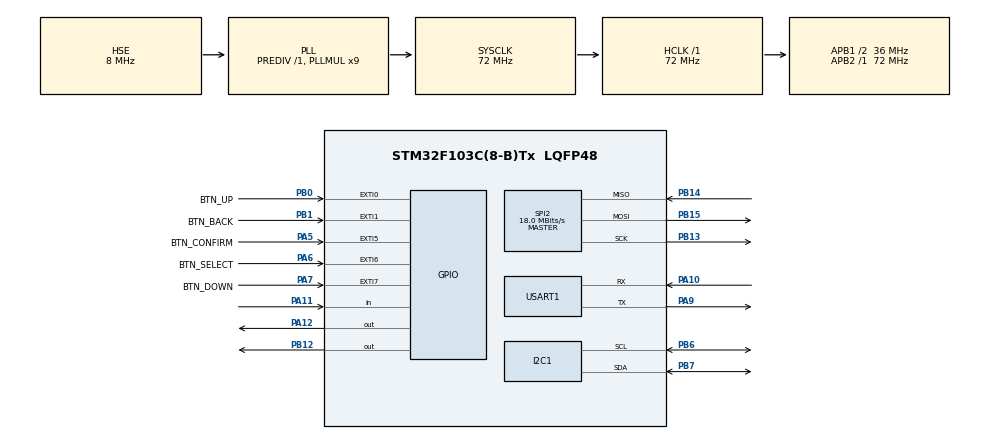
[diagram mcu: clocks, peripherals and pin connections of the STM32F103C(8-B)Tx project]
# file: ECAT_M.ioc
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Dma.Request0=USART1_TX
Dma.USART1_TX.0.Direction=DMA_MEMORY_TO_PERIPH
Dma.USART1_TX.0.Instance=DMA1_Channel4
Dma.USART1_TX.0.MemDataAlignment=DMA_MDATAALIGN_BYTE
Dma.USART1_TX.0.MemInc=DMA_MINC_ENABLE
Dma.USART1_TX.0.Mode=DMA_NORMAL
Dma.USART1_TX.0.PeriphDataAlignment=DMA_PDATAALIGN_BYTE
Dma.USART1_TX.0.PeriphInc=DMA_PINC_DISABLE
Dma.USART1_TX.0.Priority=DMA_PRIORITY_LOW
I2C1.I2C_Mode=I2C_Standard
Mcu.Family=STM32F1
Mcu.Name=STM32F103C(8-B)Tx
Mcu.Package=LQFP48
NVIC.DMA1_Channel4_IRQn=true\:0\:0\:false\:false\:true\:false\:true\:true
NVIC.EXTI0_IRQn=true\:0\:0\:false\:false\:true\:true\:true\:true
NVIC.EXTI1_IRQn=true\:0\:0\:false\:false\:true\:true\:true\:true
NVIC.EXTI9_5_IRQn=true\:0\:0\:false\:false\:true\:true\:true\:true
NVIC.PriorityGroup=NVIC_PRIORITYGROUP_4
NVIC.USART1_IRQn=true\:0\:0\:false\:false\:true\:true\:true\:true
PA10.Mode=Asynchronous
PA10.Signal=USART1_RX
PA11.GPIO_PuPd=GPIO_PULLUP
PA11.Signal=GPIO_Input
PA12.PinState=GPIO_PIN_SET
PA12.Signal=GPIO_Output
PA13.Mode=Serial_Wire
PA13.Signal=SYS_JTMS-SWDIO
PA14.Mode=Serial_Wire
PA14.Signal=SYS_JTCK-SWCLK
PA5.GPIO_Label=BTN_CONFIRM
PA5.GPIO_ModeDefaultEXTI=GPIO_MODE_IT_FALLING
PA5.Signal=GPXTI5
PA6.GPIO_Label=BTN_SELECT
PA6.GPIO_ModeDefaultEXTI=GPIO_MODE_IT_FALLING
PA6.Signal=GPXTI6
PA7.GPIO_Label=BTN_DOWN
PA7.GPIO_ModeDefaultEXTI=GPIO_MODE_IT_FALLING
PA7.Signal=GPXTI7
PA9.Mode=Asynchronous
PA9.Signal=USART1_TX
PB0.GPIO_Label=BTN_UP
PB0.GPIO_ModeDefaultEXTI=GPIO_MODE_IT_FALLING
PB0.Signal=GPXTI0
PB1.GPIO_Label=BTN_BACK
PB1.GPIO_ModeDefaultEXTI=GPIO_MODE_IT_FALLING
PB1.Signal=GPXTI1
PB12.Signal=GPIO_Output
PB13.Mode=Full_Duplex_Master
PB13.Signal=SPI2_SCK
PB14.Mode=Full_Duplex_Master
PB14.Signal=SPI2_MISO
PB15.Mode=Full_Duplex_Master
PB15.Signal=SPI2_MOSI
PB6.Mode=I2C
PB6.Signal=I2C1_SCL
PB7.Mode=I2C
PB7.Signal=I2C1_SDA
PD0-OSC_IN.Mode=HSE-External-Oscillator
PD0-OSC_IN.Signal=RCC_OSC_IN
PD1-OSC_OUT.Mode=HSE-External-Oscillator
PD1-OSC_OUT.Signal=RCC_OSC_OUT
ProjectManager.HeapSize=0x200
ProjectManager.StackSize=0x400
ProjectManager.TargetToolchain=CMake
RCC.AHBFreq_Value=72000000
RCC.APB1CLKDivider=RCC_HCLK_DIV2
RCC.APB1Freq_Value=36000000
RCC.APB1TimFreq_Value=72000000
RCC.APB2Freq_Value=72000000
RCC.APB2TimFreq_Value=72000000
RCC.HCLKFreq_Value=72000000
RCC.PLLMUL=RCC_PLL_MUL9
RCC.PLLSourceVirtual=RCC_PLLSOURCE_HSE
RCC.SYSCLKFreq_VALUE=72000000
RCC.SYSCLKSource=RCC_SYSCLKSOURCE_PLLCLK
RCC.USBFreq_Value=72000000
SPI2.BaudRatePrescaler=SPI_BAUDRATEPRESCALER_2
SPI2.CalculateBaudRate=18.0 MBits/s
SPI2.Direction=SPI_DIRECTION_2LINES
SPI2.Mode=SPI_MODE_MASTER
SPI2.VirtualType=VM_MASTER
USART1.VirtualMode=VM_ASYNC
board=custom

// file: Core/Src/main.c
/* USER CODE BEGIN Header */
/**
  ******************************************************************************
  * @file           : main.c
  * @brief          : Main program body
  ******************************************************************************
  * @attention
  *
  * Copyright (c) 2026 STMicroelectronics.
  * All rights reserved.
  *
  * This software is licensed under terms that can be found in the LICENSE file
  * in the root directory of this software component.
  * If no LICENSE file comes with this software, it is provided AS-IS.
  *
  ******************************************************************************
  */
/* USER CODE END Header */
#include "main.h"
#include "dma.h"
#include "i2c.h"
#include "spi.h"
#include "usart.h"
#include "gpio.h"

/* USER CODE BEGIN Includes */
#include "w5500.h"
#include "ecat_master.h"
#include "mprint.h"
#include <stdint.h>
#include <stdio.h>
#include <string.h>
#include "oled.h"
#include "font.h"
#include "math.h"
#include "ecat_params.h"
/* USER CODE END Includes */

/* USER CODE BEGIN PD */
#define RESET_ABS_ENC_INDEX 0x2710
#define RESET_ABS_ENC_W 0x01
#define RESET_ABS_ENC_R 0x03

#define MENU_ITEM_HEIGHT 18
#define MENU_TOTAL_HEIGHT 64
#define MAIN_MENU_SIZE 5
#define IMPORT_MENU_SIZE 3

typedef struct MainMenu {
  char items[MAIN_MENU_SIZE][32];
  uint8_t selectIndex;
} MainMenu;
typedef struct ImportMenu {
  char items[IMPORT_MENU_SIZE][32];
  uint8_t selectIndex;
} ImportMenu;

/* USER CODE END PD */

/* USER CODE BEGIN PV */
static int slaveCount = 0;        /* 从站数量 */
static char displayBuf[32];       /* 显示缓冲区 */
static char paramDisplayBuf[32]; /* 参数显示缓冲区 */
static uint8_t ecatInitialized = 0;  /* 初始化标志 */

volatile uint8_t btn_state = 0b000000;
PageStatus currentPage = PAGE_MAIN;
uint8_t dialogSelectIndex = 0;
ECAT_Slave_t *slave;

static MainMenu mainMenu = {
  .items = {
    "重新连接",
    "参数查看/修改",
    "参数批量写入",
    "编码器复位",
    "参数初始化"
  },
  .selectIndex = 0
};

static ImportMenu importMenu = {
  .items = {
    "CNCMC800-X",
    "CNCMC800-Y",
    "JH800-Y"
  },
  .selectIndex = 0
};

static Parameter currentParam = {
  .paramIndex = 0x2000,
  .selectParamBit = 0,
  .rawData = 0,
  .data_min = 0,
  .data_max = 0xFFFFFFFE,
  .dataSize = 2,
  .displayFormat = DISPLAY_FORMAT_BYTE_ARRAY,
  .selectDisplayBit = 0
};
/* USER CODE END PV */

void SystemClock_Config(void);
/* USER CODE BEGIN PFP */
static void ECAT_DisplayStatus(const char *status, int progress);
static int ECAT_InitAndScan(void);

static int showRSTENCStatus(void);
static int ECAT_2710_StopStep(ECAT_Slave_t *slave, uint8_t* data16);
static void showDialog(uint8_t dialogType, const char *text0, const char *text1);
static void btnLock(void);
static void btnUnlock(void);
static const ParameterRule *FindParameterRule(uint16_t paramIndex);

void refreshScreen(void);
/* USER CODE END PFP */

/* USER CODE BEGIN 0 */
static void ECAT_DisplayStatus(const char *status, int progress)
{
    OLED_NewFrame();
    OLED_PrintCenterString(0, 128, 0, (char *)status, &font16x16, OLED_COLOR_NORMAL);
    if (progress >= 0)
    {
        /* 绘制进度条背景 */
        OLED_DrawRectangle(4, 35, 120, 12, OLED_COLOR_NORMAL);
        /* 绘制进度条 */
        OLED_DrawFilledRectangle(4, 35, (progress / 100.0) * 120, 12, OLED_COLOR_NORMAL);
    }
    OLED_ShowFrame();
}

/**
* @brief 显示对话框
* @param dialogType 对话框类型，0：确认/取消，1：仅确认
* @param text0 第一行文本
* @param text1 第二行文本
*/
static void showDialog(uint8_t dialogType, const char *text0, const char *text1) {
  OLED_NewFrame();
  OLED_PrintCenterString(0, 128, 2, (char *)text0, &font16x16, OLED_COLOR_NORMAL);
  OLED_PrintCenterString(0, 128, 18, (char *)text1, &font16x16, OLED_COLOR_NORMAL);

  switch (dialogType) {
  case 0:
    OLED_PrintCenterString(0, 64, 44, "取消", &font16x16, (dialogSelectIndex == 0) ? OLED_COLOR_REVERSED : OLED_COLOR_NORMAL);
    OLED_PrintCenterString(64, 64, 44, "确认", &font16x16, (dialogSelectIndex == 1) ? OLED_COLOR_REVERSED : OLED_COLOR_NORMAL);
    break;
  case 1:
    OLED_PrintCenterString(0, 128, 44, "确认", &font16x16, OLED_COLOR_REVERSED);
    break;
  }

  OLED_ShowFrame();
}

static int ECAT_InitAndScan(void)
{
  btnLock();

  int ret;
  int w5500_retry = 0;
  static char initmsg[] = "启动网络中...";

  /* 显示初始化状态 */
  ECAT_DisplayStatus(initmsg, 10);

  /* 检查W5500 */
  if (W5500_GetVersion() != 0x04)
  {
    w5500_retry++;
    if (w5500_retry > 3) {
      ECAT_DisplayStatus("网络启动失败", -1);
      HAL_Delay(2000);
    }
    return ECAT_ERROR;
  }

  ECAT_DisplayStatus(initmsg, 30);

  /* 初始化EtherCAT主站 */
  ret = ECAT_Init();
  if (ret != ECAT_OK)
  {
    ECAT_DisplayStatus("ECAT启动失败", -1);
    HAL_Delay(2000);
    return ret;
  }

  ECAT_DisplayStatus(initmsg, 50);

  /* 检查链接状态 */
  if (!W5500_GetLinkStatus())
  {
    ECAT_DisplayStatus("连接异常", -1);
    HAL_Delay(2000);
    return ECAT_ERROR;
  }

  /* 扫描从站 */
  ECAT_DisplayStatus(initmsg, 80);
  slaveCount = ECAT_ScanSlaves();
  if (slaveCount == 0)
  {
    ECAT_DisplayStatus("未连接到从站", -1);
    HAL_Delay(2000);
    return ECAT_NO_SLAVE;
  }

  ECAT_DisplayStatus(initmsg, 90);
  slave = ECAT_GetSlave(0);
  if (slave == NULL)
  {
    ECAT_DisplayStatus("从站连接异常", -1);
    HAL_Delay(2000);
    return ECAT_NO_SLAVE;
  }

  ecatInitialized = 1;

  currentPage = PAGE_MAIN;
  refreshScreen();
  btnUnlock();
  return ECAT_OK;
}

static void btnLock(void) {
  btn_state |= 0b000001;
}

static void btnUnlock(void) {
  btn_state &= 0b111110;
}

static const ParameterRule *FindParameterRule(uint16_t paramIndex) {
  uint16_t low = 0;
  uint16_t high = (parameterRules_size == 0) ? 0 : (uint16_t)(parameterRules_size - 1);

  while (low <= high && parameterRules_size > 0) {
    uint16_t mid = (uint16_t)(low + ((high - low) / 2));
    uint16_t midIndex = parameterRules[mid].paramIndex;

    if (midIndex == paramIndex) {
      return &parameterRules[mid];
    }
    if (midIndex < paramIndex) {
      low = (uint16_t)(mid + 1);
    } else {
      if (mid == 0) {
        break;
      }
      high = (uint16_t)(mid - 1);
    }
  }

  return NULL;
}

int showRSTENCStatus(void) {
  btnLock();

  int ret;
  int dataSize = 16;
  uint8_t data16[16] = {0,0,1,2,0,0x20,0,0,0x08,0x10,0,0,0,0,0x00,0x00};
  int readRetry = 10;

  ECAT_DisplayStatus("编码器复位中...", 10);

  // 0 请求复位
  ret = ECAT_SDOWrite(slave->configAddr, RESET_ABS_ENC_INDEX, RESET_ABS_ENC_W, data16, 10, 2000);
  if (ret != ECAT_OK)
  {
      sprintf(displayBuf, "ABSRST 0 Err:%d", ret);
      ECAT_DisplayStatus(displayBuf, -1);
      return ret;
  }

  ECAT_DisplayStatus("编码器复位中...", 20);

  // 1 读取请求是否成功
  for (int i = 0; i <= readRetry; i++) {
    HAL_Delay(500);

    dataSize = 16;
    ret = ECAT_SDORead(slave->configAddr, RESET_ABS_ENC_INDEX, RESET_ABS_ENC_R, &data16, &dataSize, 2000);
    if (ret != ECAT_OK)
    {
      sprintf(displayBuf, "ABSRST 1 Err:%d", ret);
      ECAT_DisplayStatus(displayBuf, -1);
      return ret;
    }
    if (data16[0] <= 3 && dataSize > 4) {
      break;
    }

    // 超时
    if (i >= readRetry) {
      ECAT_2710_StopStep(slave, data16);
      ECAT_DisplayStatus("ABSRST 1 Timeout", -1);
      return ECAT_ERROR;
    }
  }
  if (data16[0] != 1) {
    ECAT_2710_StopStep(slave, data16);
    sprintf(displayBuf, "ABSRST 1 StErr%d", data16[0]);
    ECAT_DisplayStatus(displayBuf, -1);
    return ECAT_ERROR;
  }

  ECAT_DisplayStatus("编码器复位中...", 30);

  // 2 执行复位前准备
  data16[0] = 0;
  data16[1] = 0;
  data16[2] = 1;
  data16[3] = 2;
  data16[4] = 0x01;
  data16[5] = 0x20;
  data16[6] = 0x00;
  data16[7] = 0x00;
  data16[8] = 0x02;
  data16[9] = 0x00;
  ret = ECAT_SDOWrite(slave->configAddr, RESET_ABS_ENC_INDEX, RESET_ABS_ENC_W, data16, 10, 2000);
  if (ret != ECAT_OK)
  {
      sprintf(displayBuf, "ABSRST 2 Err:%d", ret);
      ECAT_DisplayStatus(displayBuf, -1);
      return ret;
  }

  ECAT_DisplayStatus("编码器复位中...", 40);

  // 3 读取请求是否成功
  for (int i = 0; i <= readRetry; i++) {
    HAL_Delay(500);

    dataSize = 16;
    ret = ECAT_SDORead(slave->configAddr, RESET_ABS_ENC_INDEX, RESET_ABS_ENC_R, &data16, &dataSize, 2000);
    if (ret != ECAT_OK)
    {
      sprintf(displayBuf, "ABSRST 3 Err:%d", ret);
      ECAT_DisplayStatus(displayBuf, -1);
      return ret;
    }
    if (data16[0] <= 3 && dataSize > 4) {
      break;
    }

    // 超时
    if (i >= readRetry) {
      ECAT_2710_StopStep(slave, data16);
      ECAT_DisplayStatus("ABSRST 3 Timeout", -1);
      return ECAT_ERROR;
    }
  }
  if (data16[0] != 1) {
    ECAT_2710_StopStep(slave, data16);
    sprintf(displayBuf, "ABSRST 3 StErr%d", data16[0]);
    ECAT_DisplayStatus(displayBuf, -1);
    return ECAT_ERROR;
  }

  ECAT_DisplayStatus("编码器复位中...", 60);

  // 4 执行复位
  data16[0] = 0;
  data16[1] = 0;
  data16[2] = 1;
  data16[3] = 2;
  data16[4] = 0x01;
  data16[5] = 0x20;
  data16[6] = 0x00;
  data16[7] = 0x00;
  data16[8] = 0x01;
  data16[9] = 0x00;
  ret = ECAT_SDOWrite(slave->configAddr, RESET_ABS_ENC_INDEX, RESET_ABS_ENC_W, data16, 10, 2000);
  if (ret != ECAT_OK)
  {
      sprintf(displayBuf, "ABSRST 4 Err:%d", ret);
      ECAT_DisplayStatus(displayBuf, -1);
      return ret;
  }

  ECAT_DisplayStatus("编码器复位中...", 80);

  // 5 读取请求是否成功
  for (int i = 0; i <= readRetry; i++) {
    HAL_Delay(500);

    dataSize = 16;
    ret = ECAT_SDORead(slave->configAddr, RESET_ABS_ENC_INDEX, RESET_ABS_ENC_R, &data16, &dataSize, 2000);
    if (ret != ECAT_OK)
    {
      sprintf(displayBuf, "ABSRST 5 Err:%d", ret);
      ECAT_DisplayStatus(displayBuf, -1);
      return ret;
    }
    if (data16[0] <= 3 && dataSize > 4) {
      break;
    }

    // 超时
    if (i >= readRetry) {
      ECAT_2710_StopStep(slave, data16);
      ECAT_DisplayStatus("ABSRST 5 Timeout", -1);
      return ECAT_ERROR;
    }
  }
  if (data16[0] != 1) {
    ECAT_2710_StopStep(slave, data16);
    sprintf(displayBuf, "ABSRST 5 StErr%d", data16[0]);
    ECAT_DisplayStatus(displayBuf, -1);
    return ECAT_ERROR;
  }

  ECAT_DisplayStatus("编码器复位中...", 90);

  // 6 Stop
  ECAT_2710_StopStep(slave, data16);

  // 成功
  dialogSelectIndex = 0;
  showDialog(1, "编码器复位成功", "");
  btnUnlock();
  return ret;
}

int ECAT_2710_StopStep(ECAT_Slave_t *slave, uint8_t* data16) {
  data16[0] = 0;
  data16[1] = 0;
  data16[2] = 1;
  data16[3] = 2;
  data16[4] = 0x00;
  data16[5] = 0x20;
  data16[6] = 0x00;
  data16[7] = 0x00;
  data16[8] = 0x00;
  data16[9] = 0x00;
  return ECAT_SDOWrite(slave->configAddr, RESET_ABS_ENC_INDEX, RESET_ABS_ENC_W, data16, 10, 2000);
}

void showMainMenu(void) {
  uint8_t i = 0;
  int8_t pos = 0;

  OLED_NewFrame();
  if ((mainMenu.selectIndex * MENU_ITEM_HEIGHT) > (MENU_TOTAL_HEIGHT - MENU_ITEM_HEIGHT)) {
    pos = MENU_TOTAL_HEIGHT - MENU_ITEM_HEIGHT;
    OLED_PrintString(0, pos, mainMenu.items[mainMenu.selectIndex], &font16x16, OLED_COLOR_REVERSED);
    pos -= MENU_ITEM_HEIGHT;
    i = mainMenu.selectIndex - 1;
    while (pos > -MENU_ITEM_HEIGHT) {
      OLED_PrintString(0, pos, mainMenu.items[i], &font16x16, OLED_COLOR_NORMAL);
      pos -= MENU_ITEM_HEIGHT;
      i--;
    }
  } else {
    while (pos < MENU_TOTAL_HEIGHT && i < MAIN_MENU_SIZE) {
      if (i == mainMenu.selectIndex) {
        OLED_PrintString(0, pos, mainMenu.items[i], &font16x16, OLED_COLOR_REVERSED);
      } else {
        OLED_PrintString(0, pos, mainMenu.items[i], &font16x16, OLED_COLOR_NORMAL);
      }
      pos += MENU_ITEM_HEIGHT;
      i++;
    }
  }
  OLED_ShowFrame();
}

void paramIndexUpDownHandle(int8_t dir) {
  if (dir > 0) {
    currentParam.paramIndex += 1 << (currentParam.selectParamBit * 4);
    currentParam.paramIndex %= 0x2661;
  } else {
    currentParam.paramIndex -= 1 << (currentParam.selectParamBit * 4);
    if (currentParam.paramIndex < 0x2000) {
      currentParam.paramIndex = 0x2000;
    }
  }
}

void paramDataUpDownHandle(int8_t dir) {
  if (dir > 0) {
    switch (currentParam.displayFormat) {
      case DISPLAY_FORMAT_BYTE_ARRAY:
        currentParam.rawData += 1 << (currentParam.selectDisplayBit * 4);
        currentParam.rawData %= (currentParam.data_max + 1);
        break;
      case DISPLAY_FORMAT_DEC:
        currentParam.rawData += 1 * pow(10, currentParam.selectDisplayBit);
        currentParam.rawData %= (currentParam.data_max + 1);
        break;
    }
  } else {
    switch (currentParam.displayFormat) {
      case DISPLAY_FORMAT_BYTE_ARRAY:
        if ((currentParam.rawData - (1 << (currentParam.selectDisplayBit * 4))) >= currentParam.data_min) {
          currentParam.rawData -= 1 << (currentParam.selectDisplayBit * 4);
        }
        break;
      case DISPLAY_FORMAT_DEC:
        if (currentParam.rawData - (1 * pow(10, currentParam.selectDisplayBit)) >= currentParam.data_min) {
          currentParam.rawData -= 1 * pow(10, currentParam.selectDisplayBit);
        }
        break;
    }
  }
}

int readParam(void) {
  currentParam.selectParamBit = 0;
  currentParam.selectDisplayBit = 0;

  int ret;
  ret = ECAT_SDORead(slave->configAddr, currentParam.paramIndex, 0, &currentParam.rawData, &currentParam.dataSize, 2000);
  if (ret != ECAT_OK)
  {
    ECAT_DisplayStatus("读取失败", -1);
    return ret;
  }

  return ret;
}

int writeParam(void) {
  int ret;
  ret = ECAT_SDOWrite(slave->configAddr, currentParam.paramIndex, 0, &currentParam.rawData, currentParam.dataSize, 2000);
  if (ret != ECAT_OK) {
    ECAT_DisplayStatus("写入失败", -1);
    return ret;
  }

  uint32_t saveFlag = 0x65766173;
  ret = ECAT_SDOWrite(slave->configAddr, 0x1010, 1, &saveFlag, 4, 2000);
  if (ret != ECAT_OK) {
    ECAT_DisplayStatus("写入失败", -1);
    return ret;
  }

  return ret;
}

void showParamMenu(void) {
  OLED_NewFrame();

  sprintf(displayBuf, "Pn%03X", currentParam.paramIndex & 0xDFFF);
  OLED_PrintASCIIString(2, 2, displayBuf, &afont24x12, OLED_COLOR_NORMAL);
  OLED_DrawLine(50 - currentParam.selectParamBit * 12, 28, 62 - currentParam.selectParamBit * 12, 28, OLED_COLOR_NORMAL);

  OLED_ShowFrame();
}

void showParamReadStatus(void) {
  btnLock();

  OLED_NewFrame();
  sprintf(displayBuf, "Pn%03X", currentParam.paramIndex & 0xDFFF);
  OLED_PrintASCIIString(2, 2, displayBuf, &afont24x12, OLED_COLOR_NORMAL);
  OLED_PrintString(2, 32, "读取中...", &font16x16, OLED_COLOR_NORMAL);
  OLED_ShowFrame();

  const ParameterRule *rule = FindParameterRule(currentParam.paramIndex);
  if (rule == NULL) {
    ECAT_DisplayStatus("不支持的参数", -1);
    btnUnlock();
    return;
  }

  currentParam.data_min = rule->data_min;
  currentParam.data_max = rule->data_max;
  currentParam.dataSize = rule->dataSize;
  currentParam.displayFormat = rule->displayFormat;

  int ret = readParam();
  if (ret != ECAT_OK) {
    OLED_NewFrame();
    sprintf(displayBuf, "Pn%03X", currentParam.paramIndex & 0xDFFF);
    OLED_PrintASCIIString(2, 2, displayBuf, &afont24x12, OLED_COLOR_NORMAL);
    OLED_PrintString(2, 32, "读取失败", &font16x16, OLED_COLOR_NORMAL);
    OLED_ShowFrame();

    btnUnlock();
    return;
  }

  currentPage = PAGE_PARAMS_EDIT;
  refreshScreen();

  btnUnlock();
}

void showParamEdit(void) {
  OLED_NewFrame();

  sprintf(displayBuf, "Pn%03X", currentParam.paramIndex & 0xDFFF);
  OLED_PrintASCIIString(2, 2, displayBuf, &afont24x12, OLED_COLOR_NORMAL);
  switch (currentParam.displayFormat) {
    case DISPLAY_FORMAT_BYTE_ARRAY:
      switch (currentParam.dataSize) {
      case 2:
        sprintf(paramDisplayBuf, "%04X", currentParam.rawData);
        OLED_PrintASCIIString(2, 32, paramDisplayBuf, &afont24x12, OLED_COLOR_NORMAL);
        OLED_DrawLine(38 - currentParam.selectDisplayBit * 12, 58, 50 - currentParam.selectDisplayBit * 12, 58, OLED_COLOR_NORMAL);
        break;
      case 4:
        sprintf(paramDisplayBuf, "%08X", currentParam.rawData);
        OLED_PrintASCIIString(2, 32, paramDisplayBuf, &afont24x12, OLED_COLOR_NORMAL);
        OLED_DrawLine(86 - currentParam.selectDisplayBit * 12, 58, 98 - currentParam.selectDisplayBit * 12, 58, OLED_COLOR_NORMAL);
        break;
      }
      break;
    case DISPLAY_FORMAT_DEC:
      switch (currentParam.dataSize) {
      case 2:
        sprintf(paramDisplayBuf, "%05d", currentParam.rawData);
        OLED_PrintASCIIString(2, 32, paramDisplayBuf, &afont24x12, OLED_COLOR_NORMAL);
        OLED_DrawLine(50 - currentParam.selectDisplayBit * 12, 58, 62 - currentParam.selectDisplayBit * 12, 58, OLED_COLOR_NORMAL);
        break;
      case 4:
        sprintf(paramDisplayBuf, "%010d", currentParam.rawData);
        OLED_PrintASCIIString(2, 32, paramDisplayBuf, &afont24x12, OLED_COLOR_NORMAL);
        OLED_DrawLine(110 - currentParam.selectDisplayBit * 12, 58, 112 - currentParam.selectDisplayBit * 12, 58, OLED_COLOR_NORMAL);
        break;
      }
      break;
  }

  OLED_ShowFrame();
}

void showParamEditResult(void) {
  btnLock();

  OLED_NewFrame();
  OLED_PrintCenterString(0, 128, 24, "写入参数中...", &font16x16, OLED_COLOR_NORMAL);
  OLED_ShowFrame();

  int ret = writeParam();
  if (ret == ECAT_OK) {
    showDialog(1, "写入成功", "");
  } else {
    showDialog(1, "写入失败", "");
  }

  btnUnlock();
}

void showImportMenu(void) {
  uint8_t i = 0;
  int8_t pos = 0;

  OLED_NewFrame();
  if ((importMenu.selectIndex * MENU_ITEM_HEIGHT) > (MENU_TOTAL_HEIGHT - MENU_ITEM_HEIGHT)) {
    pos = MENU_TOTAL_HEIGHT - MENU_ITEM_HEIGHT;
    OLED_PrintString(0, pos, importMenu.items[importMenu.selectIndex], &font16x16, OLED_COLOR_REVERSED);
    pos -= MENU_ITEM_HEIGHT;
    i = importMenu.selectIndex - 1;
    while (pos > -MENU_ITEM_HEIGHT) {
      OLED_PrintString(0, pos, importMenu.items[i], &font16x16, OLED_COLOR_NORMAL);
      pos -= MENU_ITEM_HEIGHT;
      i--;
    }
  } else {
    while (pos < MENU_TOTAL_HEIGHT && i < IMPORT_MENU_SIZE) {
      if (i == importMenu.selectIndex) {
        OLED_PrintString(0, pos, importMenu.items[i], &font16x16, OLED_COLOR_REVERSED);
      } else {
        OLED_PrintString(0, pos, importMenu.items[i], &font16x16, OLED_COLOR_NORMAL);
      }
      pos += MENU_ITEM_HEIGHT;
      i++;
    }
  }
  OLED_ShowFrame();
}

void showImportDialog(void) {
  showDialog(0, "参数写入?", "");
}

void showImportDataStatus(void) {
  btnLock();

  dialogSelectIndex = 0;
  ECAT_DisplayStatus("写入参数中...", 5);

  const ImportParameter *importParamStore = NULL;
  uint8_t importParamStore_size = 0;
  switch (importMenu.selectIndex) {
  case 0:
    importParamStore = importParamStore_0;
    importParamStore_size = importParamStore_0_size;
    break;
  case 1:
    importParamStore = importParamStore_1;
    importParamStore_size = importParamStore_1_size;
    break;
  case 2:
    importParamStore = importParamStore_2;
    importParamStore_size = importParamStore_2_size;
  default:
    break;
  }

  if (importParamStore == NULL || importParamStore_size == 0) {
    showDialog(1, "Parameter NULL", "");
    btnUnlock();
    return;
  }

  ECAT_DisplayStatus("写入参数中...", 10);

  int ret;
  for (int i = 0; i < importParamStore_size; i++) {
    ret = ECAT_SDOWrite(slave->configAddr, importParamStore[i].paramIndex, 0, &importParamStore[i].rawData, importParamStore[i].dataSize, 2000);
    if (ret != ECAT_OK) {
      sprintf(displayBuf, "%04X写入失败", importParamStore[i].paramIndex);
      ECAT_DisplayStatus(displayBuf, -1);
      break;
    }
    ECAT_DisplayStatus("写入参数中...", 10 + (i + 1) * 90 / importParamStore_size);
  }

  if (ret != ECAT_OK) {
    btnUnlock();
    return;
  }

  uint32_t saveFlag = 0x65766173;
  ret = ECAT_SDOWrite(slave->configAddr, 0x1010, 1, &saveFlag, 4, 2000);
  if (ret != ECAT_OK) {
    ECAT_DisplayStatus("写入失败", -1);
  } else {
    showDialog(1, "参数写入成功", "");
  }

  btnUnlock();
}

void showRSTENCDialog() {
  showDialog(0, "编码器复位?", "");
}

void showFactoryRSTDialog() {
  showDialog(0, "参数初始化?", "");
}

void showFactoryRSTStatus() {
  btnLock();

  dialogSelectIndex = 0;
  ECAT_DisplayStatus("初始化中...", -1);

  uint32_t rstFlag = 0x64616F6C;
  int ret = ECAT_SDOWrite(slave->configAddr, 0x1011, 1, &rstFlag, 4, 2000);
  if (ret != ECAT_OK) {
    ECAT_DisplayStatus("初始化失败", -1);
  } else {
    showDialog(1, "初始化成功", "");
  }

  btnUnlock();
}

void refreshScreen(void) {
  if (ecatInitialized == 0) {
    return;
  }

  switch (currentPage) {
    case PAGE_MAIN:
      showMainMenu();
      break;
    case PAGE_PARAMS:
      showParamMenu();
      break;
    case PAGE_PARAMS_READ:
      break;
    case PAGE_PARAMS_EDIT:
      showParamEdit();
      break;
    case PAGE_PARAMS_EDIT_RESULT:
      break;
    case PAGE_IMPORT:
      showImportMenu();
      break;
    case PAGE_IMPORT_DIALOG:
      showImportDialog();
      break;
    case PAGE_IMPORT_STATUS:
      break;
    case PAGE_RSTENC_DIALOG:
      showRSTENCDialog();
      break;
    case PAGE_RSTENC_STATUS:
      break;
    case PAGE_FACTORYRST_DIALOG:
      showFactoryRSTDialog();
      break;
    case PAGE_FACTORYRST_STATUS:
      break;
  }
}

void btnStateHandle(void) {
  if (!(btn_state & 0b111110)) {
    return;
  }

  if (btn_state & 0b000010) {
    // BACK
    switch (currentPage) {
      case PAGE_MAIN:
        break;
      case PAGE_PARAMS:
        currentPage = PAGE_MAIN;
        break;
      case PAGE_PARAMS_READ:
        currentPage = PAGE_PARAMS;
        break;
      case PAGE_PARAMS_EDIT:
        currentPage = PAGE_PARAMS;
        break;
      case PAGE_PARAMS_EDIT_RESULT:
        currentPage = PAGE_PARAMS;
        break;
      case PAGE_IMPORT:
        currentPage = PAGE_MAIN;
        break;
      case PAGE_IMPORT_DIALOG:
        currentPage = PAGE_IMPORT;
        break;
      case PAGE_IMPORT_STATUS:
        currentPage = PAGE_IMPORT;
        break;
      case PAGE_RSTENC_DIALOG:
        currentPage = PAGE_MAIN;
        break;
      case PAGE_RSTENC_STATUS:
        currentPage = PAGE_MAIN;
        break;
      case PAGE_FACTORYRST_DIALOG:
        currentPage = PAGE_MAIN;
        break;
      case PAGE_FACTORYRST_STATUS:
        currentPage = PAGE_MAIN;
        break;
    }
  }
  if (btn_state & 0b000100) {
    // UP
    switch (currentPage) {
      case PAGE_MAIN:
        if (mainMenu.selectIndex > 0) {
          mainMenu.selectIndex--;
        }
        break;
      case PAGE_PARAMS:
        paramIndexUpDownHandle(1);
        break;
      case PAGE_PARAMS_READ:
        break;
      case PAGE_PARAMS_EDIT:
        paramDataUpDownHandle(1);
        break;
      case PAGE_PARAMS_EDIT_RESULT:
        break;
      case PAGE_IMPORT:
        if (importMenu.selectIndex > 0) {
          importMenu.selectIndex--;
        }
        break;
      case PAGE_IMPORT_DIALOG:
        break;
      case PAGE_IMPORT_STATUS:
        break;
      case PAGE_RSTENC_DIALOG:
        break;
      case PAGE_RSTENC_STATUS:
        break;
      case PAGE_FACTORYRST_DIALOG:
        break;
      case PAGE_FACTORYRST_STATUS:
        break;
    }
  }
  if (btn_state & 0b001000) {
    // DOWN
    switch (currentPage) {
      case PAGE_MAIN:
        mainMenu.selectIndex++;
        mainMenu.selectIndex %= MAIN_MENU_SIZE;
        break;
      case PAGE_PARAMS:
        paramIndexUpDownHandle(-1);
        break;
      case PAGE_PARAMS_READ:
        break;
      case PAGE_PARAMS_EDIT:
        paramDataUpDownHandle(-1);
        break;
      case PAGE_PARAMS_EDIT_RESULT:
        break;
      case PAGE_IMPORT:
        importMenu.selectIndex++;
        importMenu.selectIndex %= IMPORT_MENU_SIZE;
        break;
      case PAGE_IMPORT_DIALOG:
        break;
      case PAGE_IMPORT_STATUS:
        break;
      case PAGE_RSTENC_DIALOG:
        break;
      case PAGE_RSTENC_STATUS:
        break;
      case PAGE_FACTORYRST_DIALOG:
        break;
      case PAGE_FACTORYRST_STATUS:
        break;
    }
  }
  if (btn_state & 0b010000) {
    // SELECT
    switch (currentPage) {
      case PAGE_MAIN:
        break;
      case PAGE_PARAMS:
        currentParam.selectParamBit++;
        currentParam.selectParamBit %= 3;
        break;
      case PAGE_PARAMS_READ:
        break;
      case PAGE_PARAMS_EDIT:
        currentParam.selectDisplayBit++;
        switch (currentParam.displayFormat) {
        case DISPLAY_FORMAT_BYTE_ARRAY:
          if (currentParam.dataSize == 2) {
            currentParam.selectDisplayBit %= 4;
          } else if (currentParam.dataSize == 4) {
            currentParam.selectDisplayBit %= 8;
          }
          break;
        case DISPLAY_FORMAT_DEC:
          if (currentParam.dataSize == 2) {
            currentParam.selectDisplayBit %= 5;
          } else if (currentParam.dataSize == 4) {
            currentParam.selectDisplayBit %= 10;
          }
        }
        break;
      case PAGE_PARAMS_EDIT_RESULT:
        break;
      case PAGE_IMPORT:
        break;
      case PAGE_IMPORT_DIALOG:
        dialogSelectIndex++;
        dialogSelectIndex %= 2;
        break;
      case PAGE_IMPORT_STATUS:
        break;
      case PAGE_RSTENC_DIALOG:
        dialogSelectIndex++;
        dialogSelectIndex %= 2;
        break;
      case PAGE_RSTENC_STATUS:
        break;
      case PAGE_FACTORYRST_DIALOG:
        dialogSelectIndex++;
        dialogSelectIndex %= 2;
        break;
      case PAGE_FACTORYRST_STATUS:
        break;
    }
  }
  if (btn_state & 0b100000) {
    // CONFIRM
    switch (currentPage) {
      case PAGE_MAIN:
        switch (mainMenu.selectIndex) {
          case 0:
            ecatInitialized = 0;
            ECAT_InitAndScan();
            break;
          case 1:
            currentPage = PAGE_PARAMS;
            break;
          case 2:
            currentPage = PAGE_IMPORT;
            break;
          case 3:
            dialogSelectIndex = 0;
            currentPage = PAGE_RSTENC_DIALOG;
            break;
          case 4:
            dialogSelectIndex = 0;
            currentPage = PAGE_FACTORYRST_DIALOG;
            break;
        }
        break;
      case PAGE_PARAMS:
        currentPage = PAGE_PARAMS_READ;
        showParamReadStatus();
        break;
      case PAGE_PARAMS_READ:
        break;
      case PAGE_PARAMS_EDIT:
        currentPage = PAGE_PARAMS_EDIT_RESULT;
        showParamEditResult();
        break;
      case PAGE_PARAMS_EDIT_RESULT:
        currentPage = PAGE_PARAMS;
        break;
      case PAGE_IMPORT:
        dialogSelectIndex = 0;
        currentPage = PAGE_IMPORT_DIALOG;
        break;
      case PAGE_IMPORT_DIALOG:
        if (dialogSelectIndex == 0) {
          currentPage = PAGE_IMPORT;
        } else {
          currentPage = PAGE_IMPORT_STATUS;
          showImportDataStatus();
        }
        break;
      case PAGE_IMPORT_STATUS:
        currentPage = PAGE_IMPORT;
        break;
      case PAGE_RSTENC_DIALOG:
        if (dialogSelectIndex == 0) {
          currentPage = PAGE_MAIN;
        } else {
          currentPage = PAGE_RSTENC_STATUS;
          showRSTENCStatus();
        }
        break;
      case PAGE_RSTENC_STATUS:
        currentPage = PAGE_MAIN;
        break;
      case PAGE_FACTORYRST_DIALOG:
        if (dialogSelectIndex == 0) {
          currentPage = PAGE_MAIN;
        } else {
          currentPage = PAGE_FACTORYRST_STATUS;
          showFactoryRSTStatus();
        }
        break;
      case PAGE_FACTORYRST_STATUS:
        currentPage = PAGE_MAIN;
        break;
    }
  }

  // 清空按钮状态
  btn_state &= 0b000001;
  mprintf("%d", currentPage);
  refreshScreen();
}
/* USER CODE END 0 */

int main(void)
{

  /* MCU Configuration--------------------------------------------------------*/

  /* Reset of all peripherals, Initializes the Flash interface and the Systick. */
  HAL_Init();

  /* Configure the system clock */
  SystemClock_Config();

  /* Initialize all configured peripherals */
  MX_GPIO_Init();
  MX_DMA_Init();
  MX_I2C1_Init();
  MX_SPI2_Init();
  MX_USART1_UART_Init();
  /* USER CODE BEGIN 2 */

  OLED_Init();
  ECAT_InitAndScan();
  /* USER CODE END 2 */

  /* Infinite loop */
  while (1)
  {

    /* USER CODE BEGIN 3 */
    if (ecatInitialized != 1)
    {
      ECAT_InitAndScan();
    }

    btnStateHandle();
  }
  /* USER CODE END 3 */
}

void SystemClock_Config(void)
{
  RCC_OscInitTypeDef RCC_OscInitStruct = {0};
  RCC_ClkInitTypeDef RCC_ClkInitStruct = {0};

  /** Initializes the RCC Oscillators according to the specified parameters
  * in the RCC_OscInitTypeDef structure.
  */
  RCC_OscInitStruct.OscillatorType = RCC_OSCILLATORTYPE_HSE;
  RCC_OscInitStruct.HSEState = RCC_HSE_ON;
  RCC_OscInitStruct.HSEPredivValue = RCC_HSE_PREDIV_DIV1;
  RCC_OscInitStruct.HSIState = RCC_HSI_ON;
  RCC_OscInitStruct.PLL.PLLState = RCC_PLL_ON;
  RCC_OscInitStruct.PLL.PLLSource = RCC_PLLSOURCE_HSE;
  RCC_OscInitStruct.PLL.PLLMUL = RCC_PLL_MUL9;
  if (HAL_RCC_OscConfig(&RCC_OscInitStruct) != HAL_OK)
  {
    Error_Handler();
  }

  /** Initializes the CPU, AHB and APB buses clocks
  */
  RCC_ClkInitStruct.ClockType = RCC_CLOCKTYPE_HCLK|RCC_CLOCKTYPE_SYSCLK
                              |RCC_CLOCKTYPE_PCLK1|RCC_CLOCKTYPE_PCLK2;
  RCC_ClkInitStruct.SYSCLKSource = RCC_SYSCLKSOURCE_PLLCLK;
  RCC_ClkInitStruct.AHBCLKDivider = RCC_SYSCLK_DIV1;
  RCC_ClkInitStruct.APB1CLKDivider = RCC_HCLK_DIV2;
  RCC_ClkInitStruct.APB2CLKDivider = RCC_HCLK_DIV1;

  if (HAL_RCC_ClockConfig(&RCC_ClkInitStruct, FLASH_LATENCY_2) != HAL_OK)
  {
    Error_Handler();
  }
}

void Error_Handler(void)
{
  __disable_irq();
  while (1)
  {
  }
}
